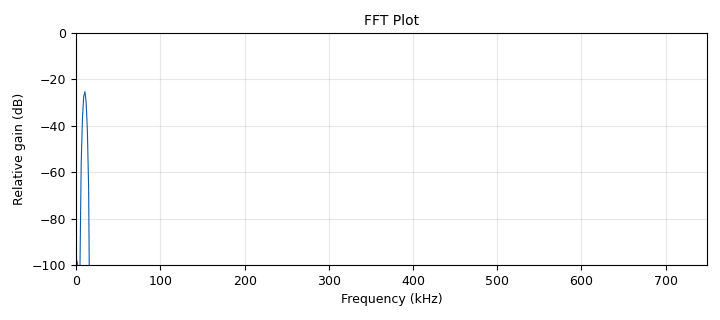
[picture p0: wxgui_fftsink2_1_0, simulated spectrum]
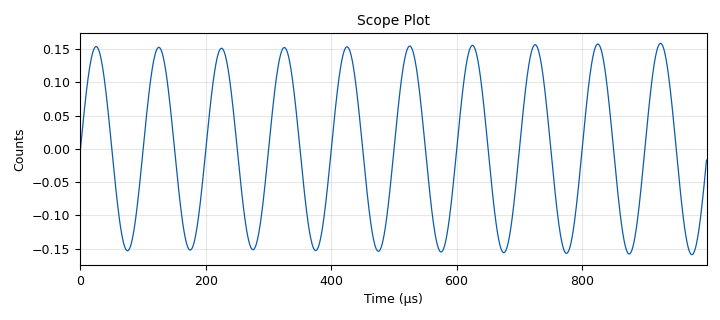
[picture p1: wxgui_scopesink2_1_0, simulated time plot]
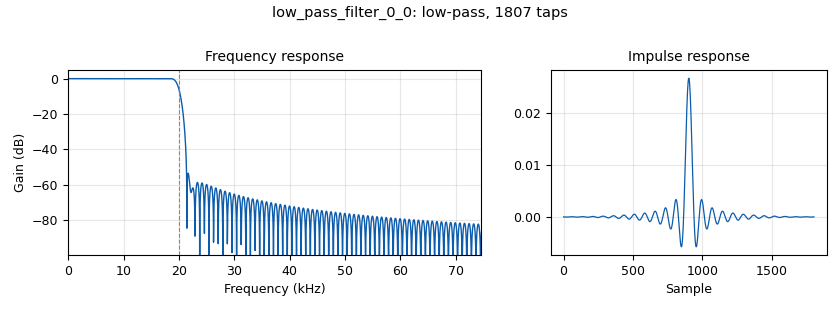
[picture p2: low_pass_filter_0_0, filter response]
<?xml version='1.0' encoding='utf-8'?>
<?grc format='1' created='3.7.11'?>
<flow_graph>
<block>
<key>options</key>
<param><key>id</key><value>top_block</value></param>
<param><key>generate_options</key><value>wx_gui</value></param>
</block>
<block>
<key>variable_slider</key>
<param><key>id</key><value>gain</value></param>
<param><key>converver</key><value>float_converter</value></param>
<param><key>value</key><value>80</value></param>
<param><key>label</key><value></value></param>
<param><key>max</key><value>100</value></param>
<param><key>min</key><value>0</value></param>
<param><key>num_steps</key><value>100</value></param>
<param><key>style</key><value>wx.SL_HORIZONTAL</value></param>
</block>
<block>
<key>variable</key>
<param><key>id</key><value>porteuse</value></param>
<param><key>value</key><value>868e6</value></param>
</block>
<block>
<key>variable</key>
<param><key>id</key><value>samp_rate</value></param>
<param><key>value</key><value>1500000</value></param>
</block>
<block>
<key>variable</key>
<param><key>id</key><value>signal</value></param>
<param><key>value</key><value>10000</value></param>
</block>
<block>
<key>analog_sig_source_x</key>
<param><key>id</key><value>analog_sig_source_x_0</value></param>
<param><key>amp</key><value>1</value></param>
<param><key>freq</key><value>porteuse</value></param>
<param><key>offset</key><value>0</value></param>
<param><key>type</key><value>float</value></param>
<param><key>samp_rate</key><value>samp_rate</value></param>
<param><key>waveform</key><value>analog.GR_COS_WAVE</value></param>
</block>
<block>
<key>analog_sig_source_x</key>
<param><key>id</key><value>analog_sig_source_x_0_0</value></param>
<param><key>amp</key><value>1</value></param>
<param><key>_enabled</key><value>0</value></param>
<param><key>freq</key><value>porteuse</value></param>
<param><key>offset</key><value>0</value></param>
<param><key>type</key><value>float</value></param>
<param><key>samp_rate</key><value>samp_rate</value></param>
<param><key>waveform</key><value>analog.GR_COS_WAVE</value></param>
</block>
<block>
<key>analog_sig_source_x</key>
<param><key>id</key><value>analog_sig_source_x_1</value></param>
<param><key>amp</key><value>1</value></param>
<param><key>freq</key><value>signal</value></param>
<param><key>offset</key><value>2</value></param>
<param><key>type</key><value>float</value></param>
<param><key>samp_rate</key><value>samp_rate</value></param>
<param><key>waveform</key><value>analog.GR_COS_WAVE</value></param>
</block>
<block>
<key>blocks_abs_xx</key>
<param><key>id</key><value>blocks_abs_xx_0</value></param>
<param><key>type</key><value>float</value></param>
</block>
<block>
<key>blocks_multiply_xx</key>
<param><key>id</key><value>blocks_multiply_xx_0</value></param>
<param><key>type</key><value>float</value></param>
</block>
<block>
<key>blocks_multiply_xx</key>
<param><key>id</key><value>blocks_multiply_xx_1</value></param>
<param><key>_enabled</key><value>0</value></param>
<param><key>type</key><value>float</value></param>
</block>
<block>
<key>dc_blocker_xx</key>
<param><key>id</key><value>dc_blocker_xx_0</value></param>
<param><key>length</key><value>32</value></param>
<param><key>long_form</key><value>True</value></param>
<param><key>type</key><value>ff</value></param>
</block>
<block>
<key>low_pass_filter</key>
<param><key>id</key><value>low_pass_filter_0</value></param>
<param><key>cutoff_freq</key><value>20000</value></param>
<param><key>decim</key><value>1</value></param>
<param><key>_enabled</key><value>0</value></param>
<param><key>type</key><value>fir_filter_fff</value></param>
<param><key>gain</key><value>1</value></param>
<param><key>samp_rate</key><value>samp_rate</value></param>
<param><key>width</key><value>2000</value></param>
<param><key>win</key><value>firdes.WIN_HAMMING</value></param>
</block>
<block>
<key>low_pass_filter</key>
<param><key>id</key><value>low_pass_filter_0_0</value></param>
<param><key>cutoff_freq</key><value>20000</value></param>
<param><key>decim</key><value>1</value></param>
<param><key>type</key><value>fir_filter_fff</value></param>
<param><key>gain</key><value>1</value></param>
<param><key>samp_rate</key><value>samp_rate</value></param>
<param><key>width</key><value>2000</value></param>
<param><key>win</key><value>firdes.WIN_HAMMING</value></param>
</block>
<block>
<key>wxgui_fftsink2</key>
<param><key>id</key><value>wxgui_fftsink2_0</value></param>
<param><key>avg_alpha</key><value>0</value></param>
<param><key>average</key><value>False</value></param>
<param><key>baseband_freq</key><value>porteuse</value></param>
<param><key>_enabled</key><value>0</value></param>
<param><key>fft_size</key><value>1024</value></param>
<param><key>freqvar</key><value>None</value></param>
<param><key>peak_hold</key><value>False</value></param>
<param><key>ref_level</key><value>0</value></param>
<param><key>ref_scale</key><value>2.0</value></param>
<param><key>fft_rate</key><value>15</value></param>
<param><key>samp_rate</key><value>samp_rate</value></param>
<param><key>title</key><value>FFT Plot</value></param>
<param><key>type</key><value>float</value></param>
<param><key>win</key><value>None</value></param>
<param><key>y_divs</key><value>10</value></param>
<param><key>y_per_div</key><value>10</value></param>
</block>
<block>
<key>wxgui_fftsink2</key>
<param><key>id</key><value>wxgui_fftsink2_1</value></param>
<param><key>avg_alpha</key><value>0</value></param>
<param><key>average</key><value>False</value></param>
<param><key>baseband_freq</key><value>0</value></param>
<param><key>_enabled</key><value>0</value></param>
<param><key>fft_size</key><value>1024</value></param>
<param><key>freqvar</key><value>None</value></param>
<param><key>peak_hold</key><value>False</value></param>
<param><key>ref_level</key><value>0</value></param>
<param><key>ref_scale</key><value>2.0</value></param>
<param><key>fft_rate</key><value>15</value></param>
<param><key>samp_rate</key><value>samp_rate</value></param>
<param><key>title</key><value>FFT Plot</value></param>
<param><key>type</key><value>float</value></param>
<param><key>win</key><value>None</value></param>
<param><key>y_divs</key><value>10</value></param>
<param><key>y_per_div</key><value>10</value></param>
</block>
<block>
<key>wxgui_fftsink2</key>
<param><key>id</key><value>wxgui_fftsink2_1_0</value></param>
<param><key>avg_alpha</key><value>0</value></param>
<param><key>average</key><value>False</value></param>
<param><key>baseband_freq</key><value>0</value></param>
<param><key>fft_size</key><value>1024</value></param>
<param><key>freqvar</key><value>None</value></param>
<param><key>peak_hold</key><value>False</value></param>
<param><key>ref_level</key><value>0</value></param>
<param><key>ref_scale</key><value>2.0</value></param>
<param><key>fft_rate</key><value>15</value></param>
<param><key>samp_rate</key><value>samp_rate</value></param>
<param><key>title</key><value>FFT Plot</value></param>
<param><key>type</key><value>float</value></param>
<param><key>win</key><value>None</value></param>
<param><key>y_divs</key><value>10</value></param>
<param><key>y_per_div</key><value>10</value></param>
</block>
<block>
<key>wxgui_scopesink2</key>
<param><key>id</key><value>wxgui_scopesink2_0</value></param>
<param><key>ac_couple</key><value>False</value></param>
<param><key>_enabled</key><value>0</value></param>
<param><key>num_inputs</key><value>1</value></param>
<param><key>samp_rate</key><value>samp_rate</value></param>
<param><key>t_scale</key><value>0</value></param>
<param><key>title</key><value>Scope Plot</value></param>
<param><key>trig_mode</key><value>wxgui.TRIG_MODE_AUTO</value></param>
<param><key>type</key><value>float</value></param>
<param><key>v_offset</key><value>0</value></param>
<param><key>v_scale</key><value>0</value></param>
<param><key>xy_mode</key><value>False</value></param>
<param><key>y_axis_label</key><value>Counts</value></param>
</block>
<block>
<key>wxgui_scopesink2</key>
<param><key>id</key><value>wxgui_scopesink2_1</value></param>
<param><key>ac_couple</key><value>False</value></param>
<param><key>_enabled</key><value>0</value></param>
<param><key>num_inputs</key><value>1</value></param>
<param><key>samp_rate</key><value>samp_rate</value></param>
<param><key>t_scale</key><value>0</value></param>
<param><key>title</key><value>Scope Plot</value></param>
<param><key>trig_mode</key><value>wxgui.TRIG_MODE_AUTO</value></param>
<param><key>type</key><value>float</value></param>
<param><key>v_offset</key><value>0</value></param>
<param><key>v_scale</key><value>0</value></param>
<param><key>xy_mode</key><value>False</value></param>
<param><key>y_axis_label</key><value>Counts</value></param>
</block>
<block>
<key>wxgui_scopesink2</key>
<param><key>id</key><value>wxgui_scopesink2_1_0</value></param>
<param><key>ac_couple</key><value>False</value></param>
<param><key>num_inputs</key><value>1</value></param>
<param><key>samp_rate</key><value>samp_rate</value></param>
<param><key>t_scale</key><value>0</value></param>
<param><key>title</key><value>Scope Plot</value></param>
<param><key>trig_mode</key><value>wxgui.TRIG_MODE_AUTO</value></param>
<param><key>type</key><value>float</value></param>
<param><key>v_offset</key><value>0</value></param>
<param><key>v_scale</key><value>0</value></param>
<param><key>xy_mode</key><value>False</value></param>
<param><key>y_axis_label</key><value>Counts</value></param>
</block>
<connection><source_block_id>analog_sig_source_x_0</source_block_id><sink_block_id>blocks_multiply_xx_0</sink_block_id><source_key>0</source_key><sink_key>0</sink_key></connection>
<connection><source_block_id>analog_sig_source_x_0_0</source_block_id><sink_block_id>blocks_multiply_xx_1</sink_block_id><source_key>0</source_key><sink_key>1</sink_key></connection>
<connection><source_block_id>analog_sig_source_x_1</source_block_id><sink_block_id>blocks_multiply_xx_0</sink_block_id><source_key>0</source_key><sink_key>1</sink_key></connection>
<connection><source_block_id>blocks_abs_xx_0</source_block_id><sink_block_id>low_pass_filter_0_0</sink_block_id><source_key>0</source_key><sink_key>0</sink_key></connection>
<connection><source_block_id>blocks_multiply_xx_0</source_block_id><sink_block_id>blocks_abs_xx_0</sink_block_id><source_key>0</source_key><sink_key>0</sink_key></connection>
<connection><source_block_id>blocks_multiply_xx_0</source_block_id><sink_block_id>blocks_multiply_xx_1</sink_block_id><source_key>0</source_key><sink_key>0</sink_key></connection>
<connection><source_block_id>blocks_multiply_xx_0</source_block_id><sink_block_id>wxgui_fftsink2_0</sink_block_id><source_key>0</source_key><sink_key>0</sink_key></connection>
<connection><source_block_id>blocks_multiply_xx_0</source_block_id><sink_block_id>wxgui_scopesink2_0</sink_block_id><source_key>0</source_key><sink_key>0</sink_key></connection>
<connection><source_block_id>blocks_multiply_xx_1</source_block_id><sink_block_id>low_pass_filter_0</sink_block_id><source_key>0</source_key><sink_key>0</sink_key></connection>
<connection><source_block_id>dc_blocker_xx_0</source_block_id><sink_block_id>wxgui_fftsink2_1_0</sink_block_id><source_key>0</source_key><sink_key>0</sink_key></connection>
<connection><source_block_id>dc_blocker_xx_0</source_block_id><sink_block_id>wxgui_scopesink2_1_0</sink_block_id><source_key>0</source_key><sink_key>0</sink_key></connection>
<connection><source_block_id>low_pass_filter_0</source_block_id><sink_block_id>wxgui_fftsink2_1</sink_block_id><source_key>0</source_key><sink_key>0</sink_key></connection>
<connection><source_block_id>low_pass_filter_0</source_block_id><sink_block_id>wxgui_scopesink2_1</sink_block_id><source_key>0</source_key><sink_key>0</sink_key></connection>
<connection><source_block_id>low_pass_filter_0_0</source_block_id><sink_block_id>dc_blocker_xx_0</sink_block_id><source_key>0</source_key><sink_key>0</sink_key></connection>
</flow_graph>
